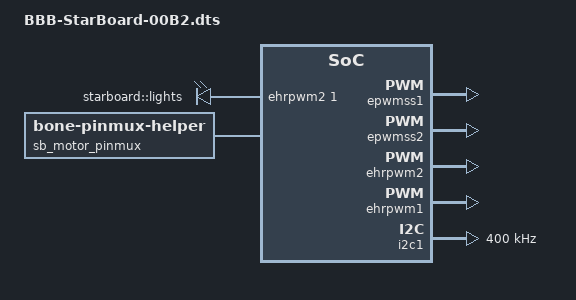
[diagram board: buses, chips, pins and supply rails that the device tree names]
/dts-v1/;
/plugin/;

#include <dt-bindings/gpio/gpio.h>
#include <dt-bindings/pinctrl/am33xx.h>
#include <dt-bindings/board/am335x-bbw-bbb-base.h>

/ {
        compatible = "ti,beaglebone-black";

        /* identification */
        part-number = "BBB-StarBoard";
        version = "00B2";

        exclusive-use =
                "P8.11", // motor A1: GPIO 1.12, PRU 0.out15
                "P8.12", // motor A2: GPIO 1.13, PRU 0.out14
                "P8.13", // house lights: PWM2B
                "P8.15", // switch 1, GPIO 1.15, PRU 0.in15
                "P8.16", // switch 2, GPIO 1.14, PRU 0.in14
                "P8.27", // connector 3 interrupt: GPIO 2.22
                "P8.28", // connector 4 interrupt: GPIO 2.24
                "P8.29", // connector 2 interrupt: GPIO 2.23
                "P8.30", // connector 1 interrupt: GPIO 2.25
                "P8.31", // TTL 1: GPIO 0.10
                "P8.32", // TTL 2: GPIO 0.11
                "P8.33", // TTL 3: GPIO 0.9
                "P8.34", // motor A PWM: GPIO 2.17, PWM1B
                "P8.35", // TTL 4: GPIO 0.8
                "P8.36", // motor B PWM: GPIO 2.16, PWM1A
                "P8.39", // connector 3 output: GPIO 2.12
                "P8.40", // connector 4 output: GPIO 2.13
                "P8.41", // connector 2 output: GPIO 2.10
                "P8.42", // connector 1 output: GPIO 2.11
                "P8.43", // TTL 7: GPIO 2.8
                "P8.44", // TTL 8: GPIO 2.9
                "P8.45", // TTL 5: GPIO 2.6
                "P8.46", // TTL 4: GPIO 2.7
                "P9.19", // I2C2 SCL
                "P9.20", // I2C2 SDA
                "P9.24", // I2C1 SCL
                "P9.25", // motor B1: GPIO 3.21, PRU 0.7
                "P9.26", // I2C1 SDA
                "P9.27", // motor B2: GPIO 3.19, PRU 0.5
                "ehrpwm2B",
                "ehrpwm1A",
                "ehrpwm1B",
                "i2c1";

        fragment@0 {
                target = <&ocp>;
                __overlay__ {
                        P8_11_pinmux { status = "disabled"; };
                        P8_12_pinmux { status = "disabled"; };
                        P8_13_pinmux { status = "disabled"; };
                        P8_15_pinmux { status = "disabled"; };
                        P8_16_pinmux { status = "disabled"; };
                        P8_27_pinmux { status = "disabled"; };
                        P8_28_pinmux { status = "disabled"; };
                        P8_29_pinmux { status = "disabled"; };
                        P8_30_pinmux { status = "disabled"; };
                        P8_31_pinmux { status = "disabled"; };
                        P8_32_pinmux { status = "disabled"; };
                        P8_33_pinmux { status = "disabled"; };
                        P8_34_pinmux { status = "disabled"; };
                        P8_35_pinmux { status = "disabled"; };
                        P8_36_pinmux { status = "disabled"; };
                        P8_39_pinmux { status = "disabled"; };
                        P8_40_pinmux { status = "disabled"; };
                        P8_41_pinmux { status = "disabled"; };
                        P8_42_pinmux { status = "disabled"; };
                        P8_43_pinmux { status = "disabled"; };
                        P8_44_pinmux { status = "disabled"; };
                        P8_45_pinmux { status = "disabled"; };
                        P8_46_pinmux { status = "disabled"; };
                        P9_19_pinmux { status = "disabled"; };
                        P9_20_pinmux { status = "disabled"; };
                        P9_24_pinmux { status = "disabled"; };
                        P9_25_pinmux { status = "disabled"; };
                        P9_26_pinmux { status = "disabled"; };
                        P9_27_pinmux { status = "disabled"; };
                };
        };

        /* sets pin mux */
        fragment@1 {
                target = <&am33xx_pinmux>;
                __overlay__ {
                sb_lights_pin: pinmux_sb_lights_pin {
                                pinctrl-single,pins = <
                                        BONE_P8_13 0x4 /* ehrpwm2B */
                                        >;
                        };
                sb_motor_gpio_pins: pinmux_sb_motor_gpio_pins {
                                pinctrl-single,pins = <
                                        BONE_P8_11 (PIN_OUTPUT_PULLDOWN | INPUT_EN | MUX_MODE7)
                                        BONE_P8_12 (PIN_OUTPUT_PULLDOWN | INPUT_EN | MUX_MODE7)
                                        BONE_P9_25 (PIN_OUTPUT_PULLDOWN | INPUT_EN | MUX_MODE7)
                                        BONE_P9_27 (PIN_OUTPUT_PULLDOWN | INPUT_EN | MUX_MODE7)
                                        BONE_P8_34 (PIN_OUTPUT_PULLDOWN | INPUT_EN | MUX_MODE7)
                                        BONE_P8_36 (PIN_OUTPUT_PULLDOWN | INPUT_EN | MUX_MODE7)
                                        >;
                        };
                sb_motor_pwm_pins: pinmux_sb_motor_pwm_pins {
                                pinctrl-single,pins = <
                                        BONE_P8_11 (PIN_OUTPUT_PULLDOWN | INPUT_EN | MUX_MODE7)
                                        BONE_P8_12 (PIN_OUTPUT_PULLDOWN | INPUT_EN | MUX_MODE7)
                                        BONE_P9_25 (PIN_OUTPUT_PULLDOWN | INPUT_EN | MUX_MODE7)
                                        BONE_P9_27 (PIN_OUTPUT_PULLDOWN | INPUT_EN | MUX_MODE7)
                                        BONE_P8_34 0x02 /* (PIN_OUTPUT_PULLDOWN | MUX_MODE2) */
                                        BONE_P8_36 0x02 /* (PIN_OUTPUT_PULLDOWN | MUX_MODE2) */
                                        >;
                        };
                sb_motor_pru_pins: pinmux_sb_motor_pru_pins {
                                pinctrl-single,pins = <
                                        BONE_P8_11 (PIN_OUTPUT_PULLDOWN | MUX_MODE6)
                                        BONE_P8_12 (PIN_OUTPUT_PULLDOWN | MUX_MODE6)
                                        BONE_P9_25 (PIN_OUTPUT_PULLDOWN | MUX_MODE5)
                                        BONE_P9_27 (PIN_OUTPUT_PULLDOWN | MUX_MODE5)
                                        BONE_P8_34 (PIN_OUTPUT_PULLDOWN | MUX_MODE7)
                                        BONE_P8_36 (PIN_OUTPUT_PULLDOWN | MUX_MODE7)
                                        >;
                        };
                sb_sw1_pu_pin: pinmux_sb_sw1_pu_pin {
                                pinctrl-single,pins = <
                                        BONE_P8_15 (PIN_INPUT_PULLUP | MUX_MODE7) /* button 1 */
                                        >;
                        };
                sb_sw1_pd_pin: pinmux_sb_sw1_pd_pin {
                                pinctrl-single,pins = <
                                        BONE_P8_15 (PIN_INPUT_PULLDOWN | MUX_MODE7) /* button 1 */
                                        >;
                        };
                sb_sw1_pru_pu_pin: pinmux_sb_sw1_pru_pu_pin {
                                pinctrl-single,pins = <
                                        BONE_P8_15 (PIN_INPUT_PULLUP | MUX_MODE6) /* button 1 */
                                        >;
                        };
                sb_sw1_pru_pd_pin: pinmux_sb_sw1_pru_pd_pin {
                                pinctrl-single,pins = <
                                        BONE_P8_15 (PIN_INPUT_PULLDOWN | MUX_MODE6) /* button 1 */
                                        >;
                        };
                sb_sw2_pu_pin: pinmux_sb_sw2_pu_pin {
                                pinctrl-single,pins = <
                                        BONE_P8_16 (PIN_INPUT_PULLUP | MUX_MODE7) /* button 2 */
                                        >;
                        };
                sb_sw2_pd_pin: pinmux_sb_sw2_pd_pin {
                                pinctrl-single,pins = <
                                        BONE_P8_16 (PIN_INPUT_PULLDOWN | MUX_MODE7) /* button 2 */
                                        >;
                        };
                sb_sw2_pru_pu_pin: pinmux_sb_sw2_pru_pu_pin {
                                pinctrl-single,pins = <
                                        BONE_P8_16 (PIN_INPUT_PULLUP | MUX_MODE6) /* button 2 */
                                        >;
                        };
                sb_sw2_pru_pd_pin: pinmux_sb_sw2_pru_pd_pin {
                                pinctrl-single,pins = <
                                        BONE_P8_16 (PIN_INPUT_PULLDOWN | MUX_MODE6) /* button 2 */
                                        >;
                        };
                sb_gpio_pins: pinmux_sb_gpio_pins {
                                pinctrl-single,pins = <
                                        BONE_P8_27 (PIN_INPUT_PULLUP | MUX_MODE7) /* interrupt */
                                        BONE_P8_28 (PIN_INPUT_PULLUP | MUX_MODE7) /* interrupt */
                                        BONE_P8_29 (PIN_INPUT_PULLUP | MUX_MODE7) /* interrupt */
                                        BONE_P8_30 (PIN_INPUT_PULLUP | MUX_MODE7) /* interrupt */
                                        BONE_P8_39 (PIN_OUTPUT_PULLDOWN | MUX_MODE7) /* driver */
                                        BONE_P8_40 (PIN_OUTPUT_PULLDOWN | MUX_MODE7) /* driver */
                                        BONE_P8_41 (PIN_OUTPUT_PULLDOWN | MUX_MODE7) /* driver */
                                        BONE_P8_42 (PIN_OUTPUT_PULLDOWN | MUX_MODE7) /* driver */
                                        >;
                        };
                sb_ttl_pins: pinmux_sb_ttl_pins {
                                pinctrl-single,pins = <
                                        BONE_P8_31 (PIN_OUTPUT_PULLDOWN | INPUT_EN | MUX_MODE7) /* output */
                                        BONE_P8_32 (PIN_OUTPUT_PULLDOWN | INPUT_EN | MUX_MODE7) /* output */
                                        BONE_P8_33 (PIN_OUTPUT_PULLDOWN | INPUT_EN | MUX_MODE7) /* output */
                                        BONE_P8_35 (PIN_OUTPUT_PULLDOWN | INPUT_EN | MUX_MODE7) /* output */
                                        BONE_P8_43 (PIN_OUTPUT_PULLDOWN | INPUT_EN | MUX_MODE7) /* output */
                                        BONE_P8_44 (PIN_OUTPUT_PULLDOWN | INPUT_EN | MUX_MODE7) /* output */
                                        BONE_P8_45 (PIN_OUTPUT_PULLDOWN | INPUT_EN | MUX_MODE7) /* output */
                                        BONE_P8_46 (PIN_OUTPUT_PULLDOWN | INPUT_EN | MUX_MODE7) /* output */
                                        >;
                        };
                sb_i2c1_pins: pinmux_sb_i2c1_pins {
                                pinctrl-single,pins = <
                                        BONE_P9_24 0x73 /* SLEWCTRL_SLOW | INPUT_PULLUP | MODE3 */
                                        BONE_P9_26 0x73 /* SLEWCTRL_SLOW | INPUT_PULLUP | MODE3 */
                                >;
                        };
                 };
        };

        /* enables pwm outputs */
        fragment@2 {
                target = <&epwmss1>;
                __overlay__ {
                        status = "okay";
                };
        };

        /* enables pwm outputs */
        fragment@3 {
                target = <&epwmss2>;
                __overlay__ {
                        status = "okay";
                };
        };

        fragment@4 {
                target = <&ehrpwm2>;
                __overlay__ {
                        pinctrl-names = "default";
                        pinctrl-0 = <&sb_lights_pin>;
                        status = "okay";
                };
        };

        fragment@5 {
                target = <&ehrpwm1>;
                __overlay__ {
                        pinctrl-names = "default";
                        pinctrl-0 = <>;
                        status = "okay";
                };
        };

        fragment@6 {
                target = <&i2c1>;
                __overlay__ {
                        status = "okay";
                        pinctrl-names = "default";
                        pinctrl-0 = <&sb_i2c1_pins>;
                        clock-frequency = <400000>;
                        #address-cells = <1>;
                        #size-cells = <0>;
                };
        };

        fragment@7 {
                target = <&ocp>;
                __overlay__ {
                        sb_gpios: sb_gpio_helper {
                                compatible = "bone-pinmux-helper";
                                pinctrl-names = "default";
                                pinctrl-0 = <&sb_gpio_pins>;
                                status = "okay";
                        };
                        sb_ttls: sb_ttl_helper {
                                compatible = "bone-pinmux-helper";
                                pinctrl-names = "default";
                                pinctrl-0 = <&sb_ttl_pins>;
                                status = "okay";
                        };
                        sb_sw1_pinmux {
                                compatible = "bone-pinmux-helper";
                                pinctrl-names = "default", "gpio_pu", "gpio_pd", "pru_pu", "pru_pd";
                                pinctrl-0 = <&sb_sw1_pu_pin>;
                                pinctrl-1 = <&sb_sw1_pu_pin>;
                                pinctrl-2 = <&sb_sw1_pd_pin>;
                                pinctrl-3 = <&sb_sw1_pru_pu_pin>;
                                pinctrl-4 = <&sb_sw1_pru_pd_pin>;
                                status = "okay";
                        };
                        sb_sw2_pinmux {
                                compatible = "bone-pinmux-helper";
                                pinctrl-names = "default", "gpio_pu", "gpio_pd", "pru_pu", "pru_pd";
                                pinctrl-0 = <&sb_sw2_pu_pin>;
                                pinctrl-1 = <&sb_sw2_pu_pin>;
                                pinctrl-2 = <&sb_sw2_pd_pin>;
                                pinctrl-3 = <&sb_sw2_pru_pu_pin>;
                                pinctrl-4 = <&sb_sw2_pru_pd_pin>;
                                status = "okay";
                        };
                        sb_motor_pinmux {
                                compatible = "bone-pinmux-helper";
                                pinctrl-names = "default", "gpio", "pwm", "pru";
                                pinctrl-0 = <&sb_motor_pwm_pins>;
                                pinctrl-1 = <&sb_motor_gpio_pins>;
                                pinctrl-2 = <&sb_motor_pwm_pins>;
                                pinctrl-3 = <&sb_motor_pru_pins>;
                                status = "okay";
                        };

                };
        };

        /* creates user interface */
        fragment@8 {
                target-path = "/";
                __overlay__ {
                        sbd-lights {
                                compatible = "pwm-leds";
                                status = "okay";
                                sbd-lights-pwm {
                                        label = "starboard::lights";
                                        /*channel, period (ns), polarity */
                                        pwms = <&ehrpwm2 1 500000 0>;
                                        /* pwm-names = "lights"; */
                                        max-brightness = <255>;
                                };
                        };
                };
        };
};
